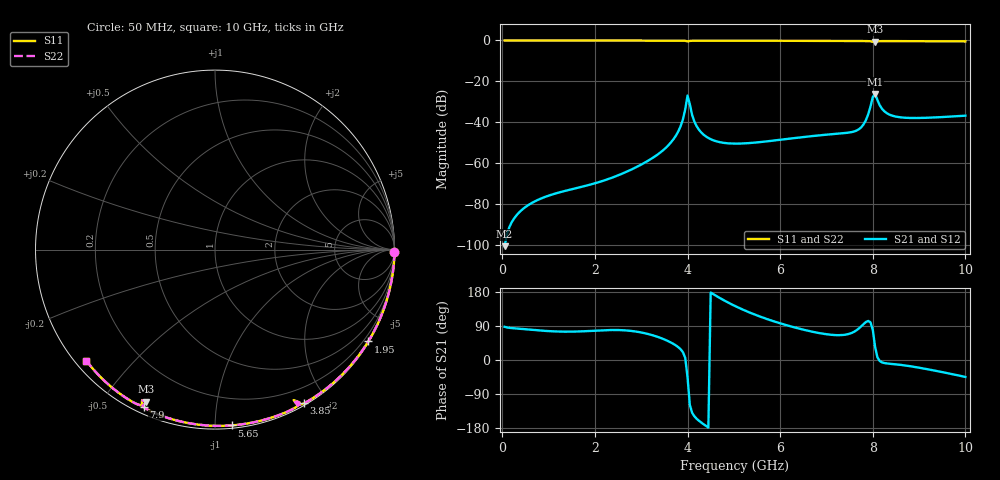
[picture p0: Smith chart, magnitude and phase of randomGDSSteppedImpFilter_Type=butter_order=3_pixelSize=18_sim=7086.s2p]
! freq	dB(S11)	phase(S11)	dB(S12)	phase(S12)
!  dB(S21)	phase(S21)	dB(S22)	phase(S22)
!S-par simulation data
#  GHz  S  DB  R 50
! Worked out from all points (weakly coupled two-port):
!   200 points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, 50 MHz to 10 GHz, reference 50 ohm
!   highest |S21| = -26.17 dB at 8.05 GHz (marker M1); lowest = -100.6 dB at 50 MHz (marker M2)
!   lowest |S11| = -0.6 dB at 8.05 GHz (marker M3), VSWR 27.74, Z = 2.55 - j32.2 ohm
!   |S11| at or under -10 dB: nowhere
!   |S22| runs from -0.6 to 0.0 dB; largest |S21 - S12| = 0
!   S11 on the Smith chart (normalised r, x): 50 MHz: open; 1.95 GHz: 0.03, -3.61; 3.85 GHz: 0.02, -1.73; 5.65 GHz: 0.02, -1.10; 7.9 GHz: 0.03, -0.64; 10 GHz: 0.03, -0.37
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0.05  -0.00 -0.8  -100.62 87.6  -100.62 87.6  -0.00 -0.8
0.6  -0.01 -9.7  -79.98 79.9  -79.98 79.9  -0.01 -9.7
1.75  -0.04 -27.8  -71.39 75.8  -71.39 75.8  -0.04 -27.8
1.95  -0.04 -30.9  -70.19 77.1  -70.19 77.1  -0.04 -30.9
3.4  -0.07 -53.0  -55.03 59.1  -55.03 59.1  -0.07 -53.0
3.7  -0.08 -57.5  -48.20 42.2  -48.20 42.2  -0.08 -57.5
3.85  -0.09 -59.9  -41.97 28.5  -41.97 28.5  -0.09 -60.0
3.95  -0.16 -62.0  -33.72 5.8  -33.72 5.8  -0.16 -62.1
4  -0.48 -62.4  -26.95 -45.6  -26.95 -45.6  -0.48 -62.4
4.15  -0.11 -63.2  -39.81 -148.9  -39.81 -148.9  -0.11 -63.2
4.3  -0.10 -65.6  -45.10 -165.5  -45.10 -165.5  -0.10 -65.6
4.6  -0.10 -70.0  -49.17 170.5  -49.17 170.5  -0.10 -70.0
5.05  -0.12 -76.3  -50.46 141.0  -50.46 141.0  -0.12 -76.4
5.65  -0.14 -84.5  -49.51 110.9  -49.51 110.9  -0.14 -84.6
6.7  -0.19 -98.4  -46.76 74.5  -46.76 74.5  -0.19 -98.5
7.65  -0.26 -110.8  -44.06 78.6  -44.06 78.6  -0.26 -110.8
7.9  -0.34 -114.4  -36.22 103.0  -36.22 103.0  -0.34 -114.5
8  -0.60 -115.8  -27.66 79.6  -27.66 79.6  -0.60 -115.8
8.05  -0.63 -114.3  -26.17 34.9  -26.17 34.9  -0.63 -114.3
8.2  -0.32 -116.5  -33.44 -6.4  -33.44 -6.4  -0.32 -116.5
8.35  -0.31 -118.7  -36.16 -9.7  -36.16 -9.7  -0.31 -118.7
10  -0.47 -139.2  -36.79 -44.6  -36.79 -44.6  -0.47 -139.2
